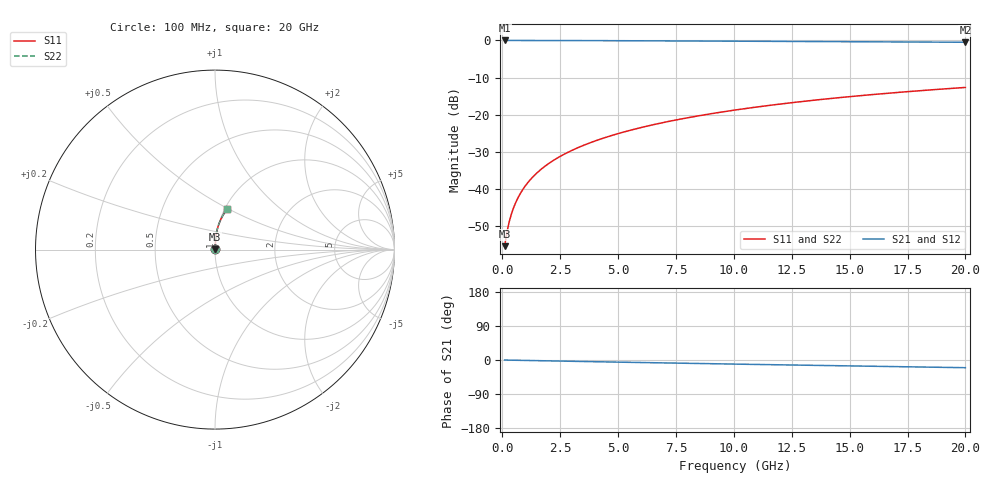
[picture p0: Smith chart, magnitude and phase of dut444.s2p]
! Touchstone file exported from HFSS 2024.1.0
!  File:  C:/UserFiles/LocalFiles/RDL_TSV_Batchsim/temp_RDL_top_444_1779676913.aedt
!  Generated:  10:44:15 AM May 25, 2026
!  Design:  RDL_top
!  Project:  temp_RDL_top_444_1779676913
!  Setup:  Setup1
!  Solution:  Sweep
! Variables:
!  dtsv = 10.80580581um
!  hbump = 3um
!  htsv = 82.68um
!  ldown = 100um
!  lrdl = 242.87um
!  p = 40
!  p1 = 52.19um
!  rhole = 1um
!  t = 450um
!  tdown = 3.915915916um
!  trdl = 4.2um
!  wdown = 15.38538539um
!  wrdl = 18.99um
# GHz S MA R 50.000000
! Terminal data exported
! Port[1] = Box2_T1
! Port[2] = Box2_T2
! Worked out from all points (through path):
!   200 points, 100 MHz to 20 GHz, reference 50 ohm
!   highest |S21| = -0.01 dB at 100 MHz (marker M1); lowest = -0.5 dB at 20 GHz (marker M2)
!   group delay of S21, straight-line fit = 2.8 ps
!   lowest |S11| = -55.4 dB at 100 MHz (marker M3), VSWR 1.00, Z = 50.1 + j0.116 ohm
!   |S11| at or under -10 dB: start of sweep to end of sweep
!   |S22| runs from -55.4 to -12.7 dB; largest |S21 - S12| = 2.3e-15
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0.1  0.0017 43.0  0.9988 -0.1  0.9988 -0.1  0.0017 43.0
! Gamma 0 0 0 0
! Port Impedance 50 0 50 0
0.2  0.002626 60.5  0.9987 -0.2  0.9987 -0.2  0.002626 60.5
0.3  0.003639 68.4  0.9986 -0.4  0.9986 -0.4  0.003639 68.4
0.4  0.004676 72.9  0.9986 -0.5  0.9986 -0.5  0.004675 72.9
0.5  0.005725 75.8  0.9985 -0.6  0.9985 -0.6  0.005725 75.8
0.6  0.006783 77.9  0.9984 -0.7  0.9984 -0.7  0.006783 77.9
0.8  0.008919 80.6  0.9983 -0.9  0.9983 -0.9  0.008919 80.6
1.1  0.01215 82.9  0.9981 -1.3  0.9981 -1.3  0.01215 82.9
1.5  0.0165 84.6  0.9977 -1.7  0.9977 -1.7  0.0165 84.6
1.8  0.01978 85.3  0.9974 -2.1  0.9974 -2.1  0.01978 85.3
2.1  0.02307 85.8  0.997 -2.4  0.997 -2.4  0.02307 85.8
2.7  0.0297 86.4  0.9961 -3.1  0.9961 -3.1  0.0297 86.4
3.5  0.03862 86.7  0.9946 -4.0  0.9946 -4.0  0.03862 86.7
4.2  0.04652 86.7  0.9931 -4.8  0.9931 -4.8  0.04652 86.7
5  0.05566 86.6  0.9912 -5.6  0.9912 -5.6  0.05566 86.6
5.9  0.06609 86.3  0.9888 -6.6  0.9888 -6.6  0.06609 86.3
6.8  0.07665 85.9  0.9863 -7.5  0.9863 -7.5  0.07666 85.9
8.4  0.09571 84.8  0.9817 -9.2  0.9817 -9.2  0.09571 84.8
10.1  0.1162 83.4  0.9766 -10.9  0.9766 -10.9  0.1162 83.4
13.4  0.1559 80.3  0.9663 -14.1  0.9663 -14.1  0.156 80.3
16.7  0.195 77.0  0.9557 -17.2  0.9557 -17.2  0.195 77.0
20  0.2328 73.7  0.9445 -20.3  0.9445 -20.3  0.2328 73.7
